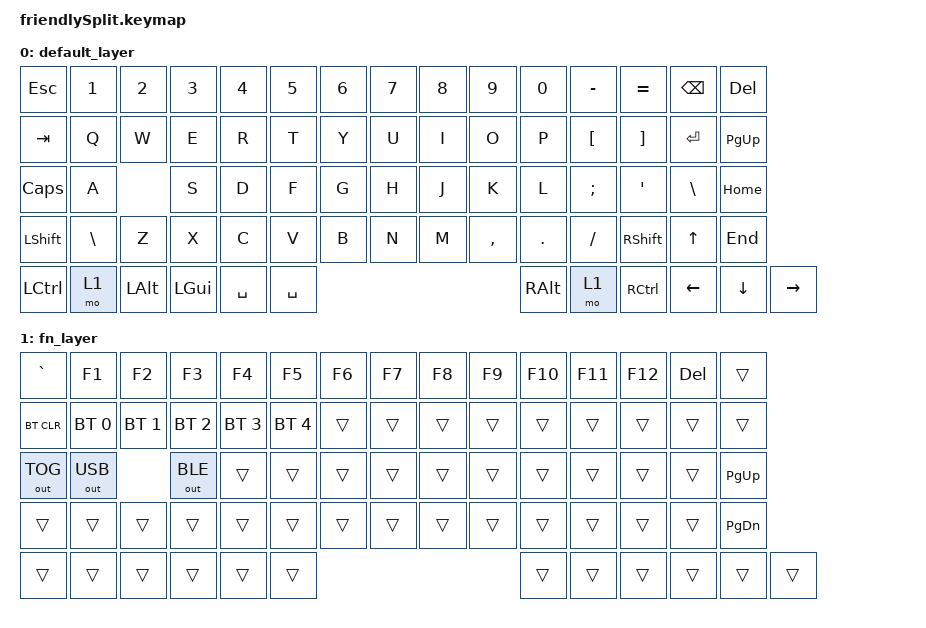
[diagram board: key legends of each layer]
/*
 * Copyright (c) 2020 The ZMK Contributors
 *
 * SPDX-License-Identifier: MIT
 */

#include <behaviors.dtsi>
#include <dt-bindings/zmk/bt.h>
#include <dt-bindings/zmk/keys.h>
#include <dt-bindings/zmk/outputs.h>

/ {
    keymap {
        compatible = "zmk,keymap";

// ----------------------------------------------      -----------------------------------------------------
// | ESC  |  1   |  2  |  3   |  4  |  5  |  6  |      |  7  |  8  |  9  |  0  |  -  |  =  |  BKSPC |  `   |
// | TAB   |  Q   |  W  |  E   |  R  |  T  |        |  Y  |  U  |  I  |  O  |  P  |  [  |  ]  |  \  | DEL  |
// | LCTRL  |  A   |  S  |  D   |  F  |  G  |        |  H  |  J  |  K  |  L  |  ;  |  '  |   ENTER  | PGUP |
// | SHIFT   |  Z   |  X  |  C  |  V   |  B  |        |  N  |  M  |  ,  |  .  |  /  |  RSHFT  |  UP | PGDN |
// | LCTRL   | LGUI | LALT |   SPACE   | FN  |        |    SPACE    | RALT | FN | RCTRL | LFT | DWN | RGHT |
// -------------------------------------------        ------------------------------------------------------

        default_layer {
            bindings = <
&kp ESC   &kp N1   &kp N2   &kp N3   &kp N4 &kp N5    &kp N6 /* */  &kp N7    &kp N8    &kp N9    &kp N0    &kp MINUS &kp EQUAL &kp BSPC            &kp DEL 
&kp TAB   &kp Q             &kp W    &kp E  &kp R     &kp T  /* */  &kp Y     &kp U     &kp I     &kp O     &kp P     &kp LBKT  &kp RBKT  &kp ENTER &kp PG_UP
&kp CAPS  &kp A             &kp S    &kp D  &kp F     &kp G  /* */  &kp H     &kp J     &kp K     &kp L     &kp SEMI  &kp SQT   &kp BSLH            &kp HOME
&kp LSHFT &kp BSLH &kp Z    &kp X    &kp C  &kp V     &kp B  /* */  &kp N     &kp M     &kp COMMA &kp DOT   &kp FSLH            &kp RSHFT &kp UP    &kp END
&kp LCTRL &mo 1    &kp LALT &kp LGUI        &kp SPACE        /* */            &kp SPACE &kp RALT  &mo 1     &kp RCTRL           &kp LEFT  &kp DOWN  &kp RIGHT
            >;
        };

// ----------------------------------------------     -----------------------------------------------------
// |GRAVE |  F1  |  F2 |  F3  |  F4 |  F5 |  F6 |     |  F7 |  F8 |  F9 | F10 | F11 | F12 |        |BT_CLR|
// |BT_CLR | BT-0 | BT-1| BT-2 |     |     |       |     |     |     |     |     |     |     |     |      |
// |        |      |     |      |     |     |       |     |     |     |     |     |     |          |      |
// |         |      |     |     |      |     |       |     |     |     |     |     |         |     |      |
// |         |      |      |           |     |       |             |      |    |       |     |     |      |
// -------------------------------------------       ------------------------------------------------------

        fn_layer {
            bindings = <
&kp GRAVE    &kp F1       &kp F2       &kp F3       &kp F4       &kp F5       &kp F6       /* */ &kp F7 &kp F8 &kp F9 &kp F10 &kp F11 &kp F12 &kp DEL         &trans
&bt BT_CLR   &bt BT_SEL 0              &bt BT_SEL 1 &bt BT_SEL 2 &bt BT_SEL 3 &bt BT_SEL 4 /* */ &trans &trans &trans &trans  &trans  &trans  &trans 	&trans  &trans 
&out OUT_TOG &out OUT_USB              &out OUT_BLE &trans       &trans       &trans       /* */ &trans &trans &trans &trans  &trans  &trans  &trans 	        &kp PG_UP
&trans       &trans       &trans       &trans       &trans       &trans       &trans       /* */ &trans &trans &trans &trans  &trans          &trans 	&trans  &kp PG_DN
&trans       &trans       &trans       &trans                    &trans                    /* */        &trans &trans &trans  &trans          &trans 	&trans  &trans
            >;
        };
    };
};
